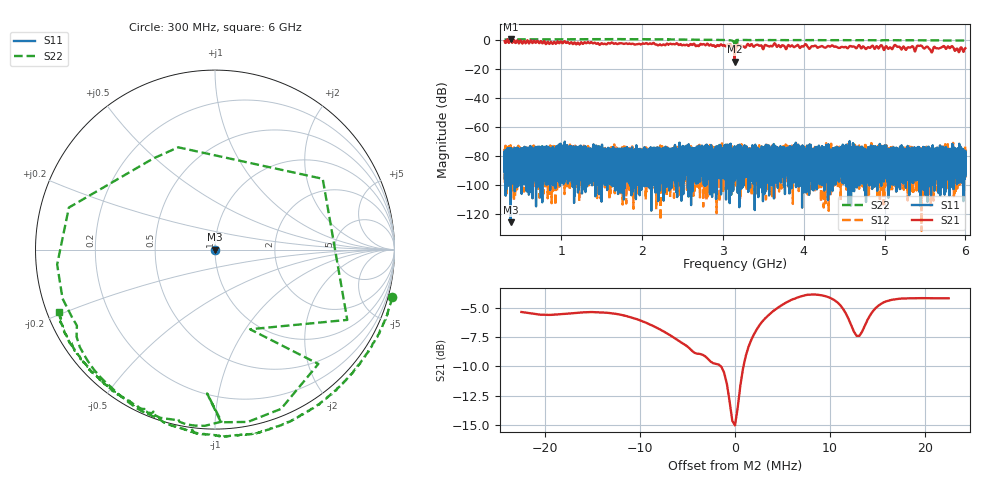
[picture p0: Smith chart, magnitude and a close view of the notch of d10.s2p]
!Agilent Technologies,N5230C,SG49000117,A.08.50.07
!Agilent N5230C: A.08.50.07
!Date: Monday, March 18, 2024 18:09:59
!Correction: S11(Off)
!S21(Off)
!S12(Off)
!S22(Full 1 Port(2))
!S2P File: Measurements: S11, S21, S12, S22:
# Hz S  RI  R 50
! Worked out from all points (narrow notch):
!   20001 points, 300 MHz to 6 GHz, reference 50 ohm
!   highest |S21| = 0.43 dB at 373.5 MHz (marker M1); lowest = -15.0 dB at 3.144 GHz (marker M2)
!   notch at M2: 11.2 dB deep, 3.78 MHz wide at half that depth
!   lowest |S11| = -126.0 dB at 376.1 MHz (marker M3), VSWR 1.00, Z = 50 - j4.8e-05 ohm
!   |S11| at or under -10 dB: start of sweep to end of sweep
!   |S22| runs from -10.1 to 0.4 dB; largest |S21 - S12| = 1.1
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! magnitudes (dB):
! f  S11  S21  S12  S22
! 300 MHz  -80.8  -1.0  -84.1  0.2
! 373.5 MHz  -87.7  0.4  -82.5  0.2
! 376.1 MHz  -126.0  0.3  -81.3  0.2
! 1.25 GHz  -85.2  -1.8  -84.6  0.3
! 2.2 GHz  -81.6  -3.9  -85.2  0.3
! 3.077 GHz  -78.4  -3.7  -82.0  -0.4
! 3.144 GHz  -82.3  -15.0  -84.5  -8.0
! 3.15 GHz  -79.6  -4.3  -75.9  -2.4
! 3.19 GHz  -80.7  -3.5  -87.3  -0.1
! 3.263 GHz  -78.1  -4.8  -85.3  -0.2
! 3.33 GHz  -81.1  -4.3  -81.4  -0.2
! 3.486 GHz  -81.1  -5.1  -78.9  -0.2
! 3.635 GHz  -92.1  -2.6  -77.5  -0.3
! 4.1 GHz  -77.4  -4.5  -81.7  -0.3
! 5.05 GHz  -81.6  -6.3  -81.9  -0.3
! 5.138 GHz  -83.0  -3.8  -95.9  -0.4
! 5.373 GHz  -84.8  -7.9  -82.2  -0.4
! 5.432 GHz  -86.9  -4.3  -78.6  -0.4
! 5.574 GHz  -95.0  -7.9  -86.3  -0.4
! 5.72 GHz  -80.6  -4.7  -82.9  -0.5
! 5.97 GHz  -99.4  -8.1  -87.5  -0.6
! 6 GHz  -82.2  -5.9  -76.2  -0.6
